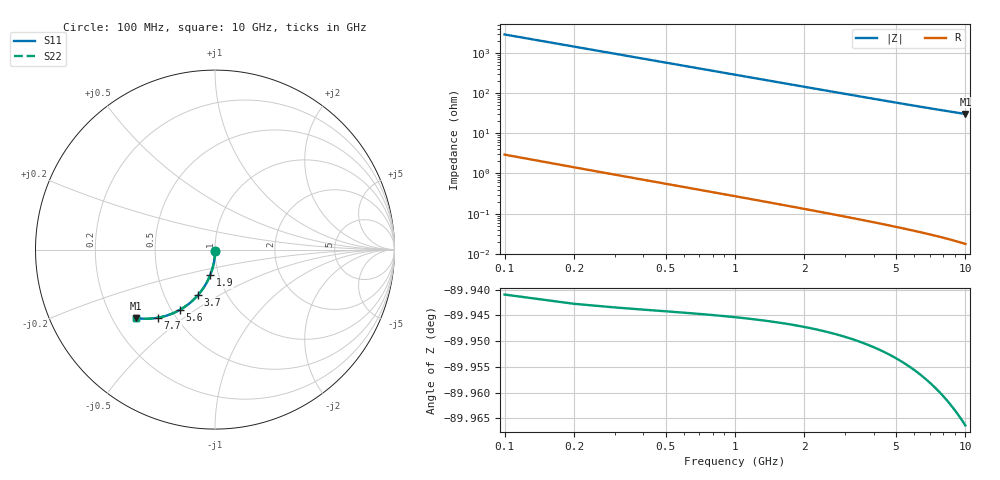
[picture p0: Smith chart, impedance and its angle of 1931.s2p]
# Hz S RI R 50.00
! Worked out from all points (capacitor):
!   100 points, 100 MHz to 10 GHz, reference 50 ohm
!   read as one part in shunt: C = 557 fF near 100 MHz
!   lowest |Z| = 30.2 ohm at 10 GHz (marker M1)
!   S11 on the Smith chart (normalised r, x): 100 MHz: 1.00, -0.02; 1.9 GHz: 0.91, -0.26; 3.7 GHz: 0.74, -0.40; 5.6 GHz: 0.55, -0.44; 7.7 GHz: 0.40, -0.40; 10 GHz: 0.30, -0.34
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1e8  0.000367 -0.00762  0.9995 -0.00988  0.9995 -0.00988  0.000367 -0.00762
2e8  0.000136 -0.0152  0.9992 -0.0198  0.9992 -0.0198  0.000136 -0.0152
3e8  -0.000246 -0.0228  0.9988 -0.0296  0.9988 -0.0296  -0.000246 -0.0228
4e8  -0.000779 -0.0304  0.9983 -0.0395  0.9983 -0.0395  -0.000779 -0.0304
5e8  -0.00146 -0.038  0.9976 -0.0493  0.9976 -0.0493  -0.00146 -0.038
6e8  -0.00229 -0.0456  0.9967 -0.0591  0.9967 -0.0591  -0.00229 -0.0456
8e8  -0.0044 -0.0606  0.9945 -0.0787  0.9945 -0.0787  -0.0044 -0.0606
1.1e9  -0.00866 -0.083  0.9901 -0.1079  0.9901 -0.1079  -0.00866 -0.083
1.4e9  -0.0142 -0.105  0.9843 -0.1366  0.9843 -0.1366  -0.0142 -0.105
1.8e9  -0.0236 -0.1336  0.9747 -0.1743  0.9747 -0.1743  -0.0236 -0.1336
1.9e9  -0.0262 -0.1406  0.9719 -0.1836  0.9719 -0.1836  -0.0262 -0.1406
2.2e9  -0.035 -0.1612  0.9628 -0.211  0.9628 -0.211  -0.035 -0.1612
2.6e9  -0.0484 -0.1876  0.9489 -0.2465  0.9489 -0.2465  -0.0484 -0.1876
3.4e9  -0.0806 -0.2361  0.9155 -0.3133  0.9155 -0.3133  -0.0806 -0.2361
3.7e9  -0.0942 -0.2527  0.9013 -0.3367  0.9013 -0.3367  -0.0942 -0.2527
4.4e9  -0.1288 -0.2877  0.8652 -0.3878  0.8652 -0.3878  -0.1288 -0.2877
5.1e9  -0.1663 -0.3171  0.8259 -0.4334  0.8259 -0.4334  -0.1663 -0.3171
5.6e9  -0.1944 -0.3348  0.7963 -0.4627  0.7963 -0.4627  -0.1944 -0.3348
6.7e9  -0.2582 -0.3638  0.7288 -0.5175  0.7288 -0.5175  -0.2582 -0.3638
7.7e9  -0.3165 -0.3791  0.6665 -0.5565  0.6665 -0.5565  -0.3165 -0.3791
8.4e9  -0.3565 -0.3842  0.6234 -0.5784  0.6234 -0.5784  -0.3565 -0.3842
1e10  -0.4424 -0.3809  0.5289 -0.6141  0.5289 -0.6141  -0.4424 -0.3809
